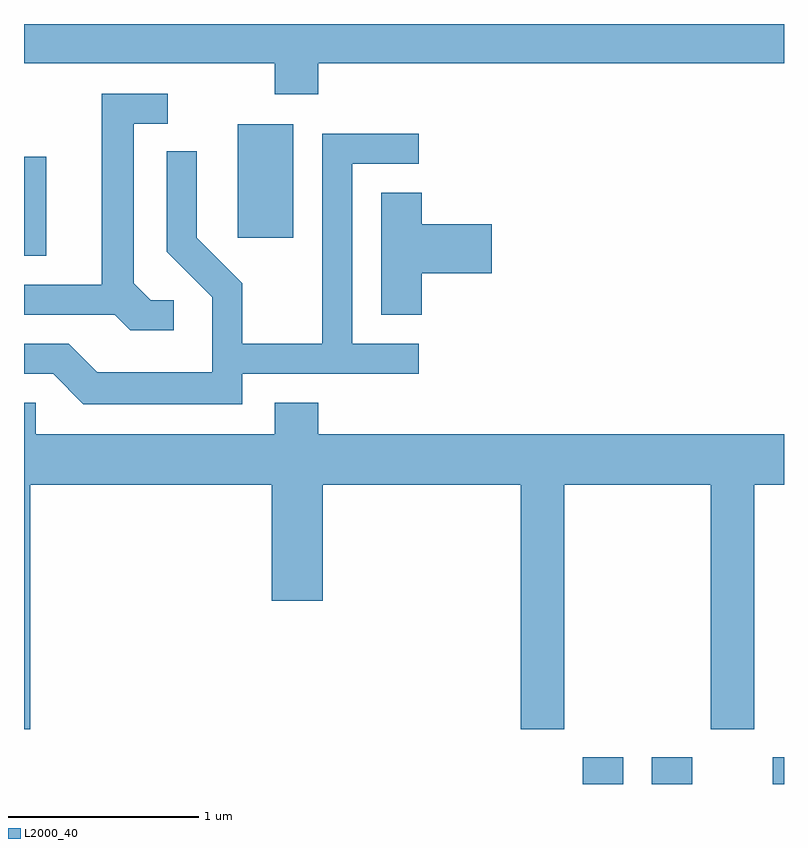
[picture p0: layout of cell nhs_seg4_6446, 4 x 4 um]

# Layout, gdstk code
import gdstk
lib = gdstk.Library(unit=1e-6, precision=1e-09)
def R(c, l, rs):  # rectangles x0, y0, x1, y1
    for r in rs: c.add(gdstk.rectangle(r[:2], r[2:], *l))
def P(c, l, *ps):  # polygons
    for p in ps: c.add(gdstk.Polygon(p, *l))
L2000_40 = (2000, 40)

nhs_seg4_6446 = lib.new_cell('nhs_seg4_6446')
R(nhs_seg4_6446, L2000_40, [(376.551,1361.982,376.764,1362.124), (376.916,1361.982,377.129,1362.124), (377.551,1361.982,377.611,1362.124), (373.611,1364.761,373.729,1365.284), (374.736,1364.856,375.029,1365.454)])
P(nhs_seg4_6446, L2000_40, [(375.159,1365.776),(377.611,1365.776),(377.611,1365.982),(373.611,1365.982),(373.611,1365.776),(374.931,1365.776),(374.931,1365.611),(375.159,1365.611)],
  [(374.398,1364.529),(374.277,1364.529),(374.189,1364.617),(374.189,1365.456),(374.368,1365.456),(374.368,1365.614),(374.021,1365.614),(374.021,1364.609),(373.611,1364.609),(373.611,1364.451),(374.089,1364.451),(374.169,1364.371),(374.398,1364.371)],
  [(374.759,1364.141),(375.688,1364.141),(375.688,1364.299),(375.339,1364.299),(375.339,1365.246),(375.688,1365.246),(375.688,1365.404),(375.181,1365.404),(375.181,1364.299),(374.759,1364.299),(374.759,1364.617),(374.519,1364.857),(374.519,1365.313),(374.361,1365.313),(374.361,1364.784),(374.601,1364.544),(374.601,1364.149),(373.997,1364.149),(373.847,1364.299),(373.611,1364.299),(373.611,1364.141),(373.764,1364.141),(373.924,1363.981),(374.759,1363.981)],
  [(375.704,1364.671),(376.074,1364.671),(376.074,1364.929),(375.704,1364.929),(375.704,1365.094),(375.491,1365.094),(375.491,1364.451),(375.704,1364.451)],
  [(373.644,1363.556),(374.916,1363.556),(374.916,1362.946),(375.184,1362.946),(375.184,1363.556),(376.226,1363.556),(376.226,1362.271),(376.454,1362.271),(376.454,1363.556),(377.226,1363.556),(377.226,1362.271),(377.454,1362.271),(377.454,1363.556),(377.611,1363.556),(377.611,1363.824),(375.159,1363.824),(375.159,1363.989),(374.931,1363.989),(374.931,1363.824),(373.674,1363.824),(373.674,1363.989),(373.611,1363.989),(373.611,1362.271),(373.644,1362.271)])

lib.write_gds('nhs_seg4_6446.gds')
